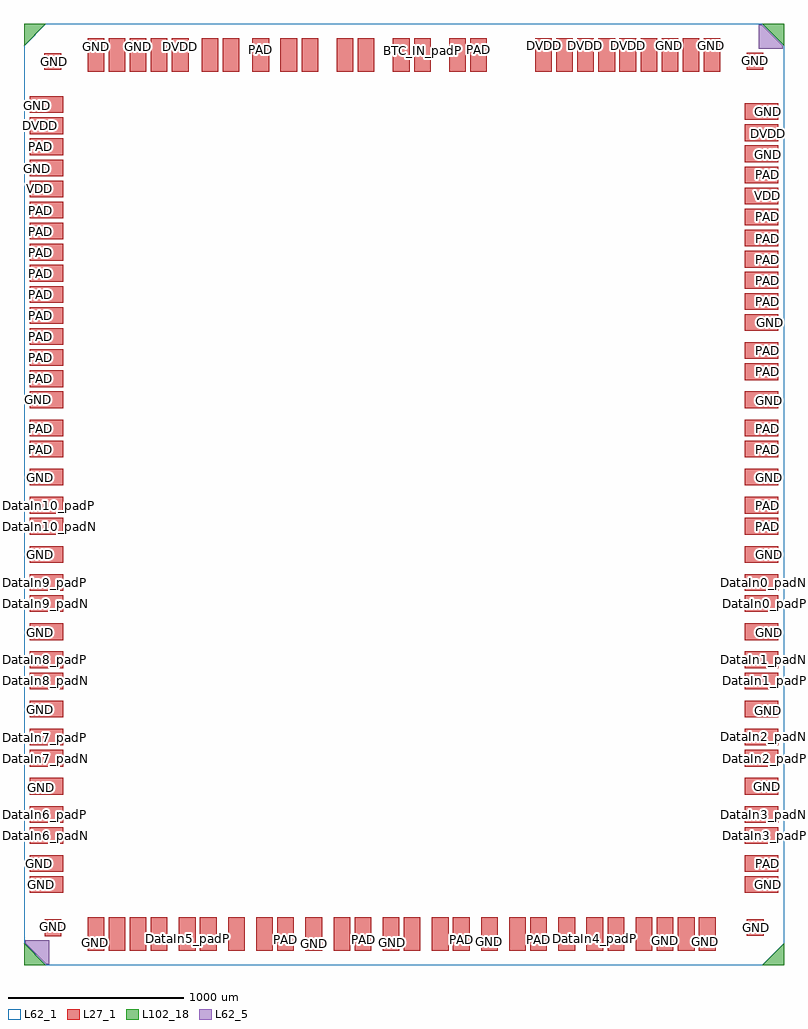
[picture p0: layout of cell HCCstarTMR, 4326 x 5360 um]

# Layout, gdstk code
import gdstk
lib = gdstk.Library(unit=1e-6, precision=1e-09)
def R(c, l, rs):  # rectangles x0, y0, x1, y1
    for r in rs: c.add(gdstk.rectangle(r[:2], r[2:], *l))
def A(c, l, x, y, w, h, nx, ny, dx, dy):  # array of equal rectangles
    R(c, l, [(x+i*dx, y+j*dy, x+i*dx+w, y+j*dy+h) for i in range(nx) for j in range(ny)])
def P(c, l, *ps):  # polygons
    for p in ps: c.add(gdstk.Polygon(p, *l))
L27_1 = (27, 1)
L62_1 = (62, 1)
L62_5 = (62, 5)
L102_18 = (102, 18)

hccstartmr = lib.new_cell('HCCstarTMR')
A(hccstartmr, L27_1, 361.71, 83.59, 95, 190, 4, 1, 120, 0)
A(hccstartmr, L27_1, 1001.71, 83.59, 95, 190, 3, 1, 160, 0)
A(hccstartmr, L27_1, 1441.71, 83.59, 95, 190, 3, 1, 160, 0)
A(hccstartmr, L27_1, 2441.71, 83.59, 95, 190, 3, 1, 160, 0)
A(hccstartmr, L27_1, 2881.71, 83.59, 95, 190, 3, 1, 160, 0)
A(hccstartmr, L27_1, 3481.71, 83.59, 95, 190, 4, 1, 120, 0)
A(hccstartmr, L27_1, 33.59, 811.71, 190, 95, 1, 3, 0, 160)
A(hccstartmr, L27_1, 4102.41, 811.71, 190, 95, 1, 3, 0, 160)
A(hccstartmr, L27_1, 33.59, 1251.71, 190, 95, 1, 3, 0, 160)
A(hccstartmr, L27_1, 4102.41, 1251.71, 190, 95, 1, 3, 0, 160)
A(hccstartmr, L27_1, 33.59, 1691.71, 190, 95, 1, 3, 0, 160)
A(hccstartmr, L27_1, 4102.41, 1691.71, 190, 95, 1, 3, 0, 160)
A(hccstartmr, L27_1, 33.59, 2131.71, 190, 95, 1, 3, 0, 160)
A(hccstartmr, L27_1, 4102.41, 2131.71, 190, 95, 1, 3, 0, 160)
A(hccstartmr, L27_1, 33.59, 2571.71, 190, 95, 1, 3, 0, 160)
A(hccstartmr, L27_1, 4102.41, 2571.71, 190, 95, 1, 3, 0, 160)
A(hccstartmr, L27_1, 4102.41, 3011.71, 190, 95, 1, 3, 0, 160)
A(hccstartmr, L27_1, 33.59, 3171.71, 190, 95, 1, 15, 0, 120)
A(hccstartmr, L27_1, 4102.41, 3611.71, 190, 95, 1, 11, 0, 120)
A(hccstartmr, L27_1, 361.71, 5086.41, 95, 190, 5, 1, 120, 0)
A(hccstartmr, L27_1, 2909.42, 5086.41, 95, 190, 9, 1, 120, 0)
R(hccstartmr, L27_1, [(881.71,83.59,976.71,273.59), (1881.71,83.59,1976.71,273.59), (2041.71,83.59,2136.71,273.59), (2161.71,83.59,2256.71,273.59), (2321.71,83.59,2416.71,273.59), (3321.71,83.59,3416.71,273.59), (117.41,166.34,212.41,261.34), (4114.66,167.41,4209.66,262.41), (33.59,411.71,223.59,506.71), (4102.41,411.71,4292.41,506.71), (33.59,531.71,223.59,626.71), (4102.41,531.71,4292.41,626.71), (33.59,691.71,223.59,786.71), (4102.41,691.71,4292.41,786.71), (33.59,3011.71,223.59,3106.71), (4102.41,3451.71,4292.41,3546.71), (1010.85,5086.41,1105.85,5276.41), (1130.85,5086.41,1225.85,5276.41), (1299.99,5086.41,1394.99,5276.41), (1459.99,5086.41,1554.99,5276.41), (1579.99,5086.41,1674.99,5276.41), (1779.99,5086.41,1874.99,5276.41), (1899.99,5086.41,1994.99,5276.41), (2099.99,5086.41,2194.99,5276.41), (2219.99,5086.41,2314.99,5276.41), (2419.99,5086.41,2514.99,5276.41), (2539.99,5086.41,2634.99,5276.41), (116.34,5097.59,211.34,5192.59), (4113.59,5098.66,4208.59,5193.66)])
P(hccstartmr, L62_1, [(125,0),(0,125),(0,5235),(125,5360),(4201,5360),(4326,5235),(4326,125),(4201,0)])
P(hccstartmr, L62_5, [(126.82,7.4),(7.4,126.82),(7.4,142.91),(142.91,142.91),(142.91,7.4)],
  [(4199.18,5352.6),(4318.6,5233.18),(4318.6,5217.09),(4183.09,5217.09),(4183.09,5352.6)])
P(hccstartmr, L102_18, [(0,0),(0,125),(125,0)],
  [(0,5360),(0,5235),(125,5360)],
  [(4326,5360),(4326,5235),(4201,5360)],
  [(4326,0),(4326,125),(4201,0)])
hccstartmr.add(gdstk.Label('PAD', (1490.02,144.78), layer=81, texttype=20))
hccstartmr.add(gdstk.Label('PAD', (1370.02,144.78), layer=81, texttype=20))
hccstartmr.add(gdstk.Label('PAD', (1930.02,144.78), layer=81, texttype=20))
hccstartmr.add(gdstk.Label('PAD', (1810.02,144.78), layer=81, texttype=20))
hccstartmr.add(gdstk.Label('PAD', (2930.02,144.78), layer=81, texttype=20))
hccstartmr.add(gdstk.Label('PAD', (2810.02,144.78), layer=81, texttype=20))
hccstartmr.add(gdstk.Label('PAD', (2490.02,144.78), layer=81, texttype=20))
hccstartmr.add(gdstk.Label('PAD', (2370.02,144.78), layer=81, texttype=20))
hccstartmr.add(gdstk.Label('PAD', (4231.22,2498.4), layer=81, texttype=20))
hccstartmr.add(gdstk.Label('PAD', (4231.22,2618.4), layer=81, texttype=20))
hccstartmr.add(gdstk.Label('PAD', (4231.22,2938.4), layer=81, texttype=20))
hccstartmr.add(gdstk.Label('PAD', (4231.22,3058.4), layer=81, texttype=20))
hccstartmr.add(gdstk.Label('PAD', (4231.22,3378.4), layer=81, texttype=20))
hccstartmr.add(gdstk.Label('PAD', (4231.22,3498.4), layer=81, texttype=20))
hccstartmr.add(gdstk.Label('PAD', (4231.22,3900.02), layer=81, texttype=20))
hccstartmr.add(gdstk.Label('PAD', (94.78,3338.4), layer=81, texttype=20))
hccstartmr.add(gdstk.Label('PAD', (4231.22,3780.02), layer=81, texttype=20))
hccstartmr.add(gdstk.Label('PAD', (94.78,3578.4), layer=81, texttype=20))
hccstartmr.add(gdstk.Label('PAD', (94.78,4658.4), layer=81, texttype=20))
hccstartmr.add(gdstk.Label('PAD', (4231.22,4500.02), layer=81, texttype=20))
hccstartmr.add(gdstk.Label('PAD', (4231.22,580.02), layer=81, texttype=20))
hccstartmr.add(gdstk.Label('PAD', (94.78,3698.4), layer=81, texttype=20))
hccstartmr.add(gdstk.Label('PAD', (94.78,3938.4), layer=81, texttype=20))
hccstartmr.add(gdstk.Label('PAD', (94.78,4058.4), layer=81, texttype=20))
hccstartmr.add(gdstk.Label('PAD', (94.78,4178.4), layer=81, texttype=20))
hccstartmr.add(gdstk.Label('PAD', (94.78,4298.4), layer=81, texttype=20))
hccstartmr.add(gdstk.Label('PAD', (4231.22,4260.02), layer=81, texttype=20))
hccstartmr.add(gdstk.Label('PAD', (94.78,3458.4), layer=81, texttype=20))
hccstartmr.add(gdstk.Label('PAD', (94.78,3818.4), layer=81, texttype=20))
hccstartmr.add(gdstk.Label('PAD', (1346.68,5215.22), layer=81, texttype=20))
hccstartmr.add(gdstk.Label('PAD', (94.78,2938.4), layer=81, texttype=20))
hccstartmr.add(gdstk.Label('PAD', (94.78,3058.4), layer=81, texttype=20))
hccstartmr.add(gdstk.Label('PAD', (4231.22,4140.02), layer=81, texttype=20))
hccstartmr.add(gdstk.Label('PAD', (4231.22,4020.02), layer=81, texttype=20))
hccstartmr.add(gdstk.Label('PAD', (2588.3,5215.22), layer=81, texttype=20))
hccstartmr.add(gdstk.Label('PAD', (2468.3,5215.22), layer=81, texttype=20))
hccstartmr.add(gdstk.Label('BTC_IN_padP', (2266.69,5206.035), layer=81, texttype=20))
hccstartmr.add(gdstk.Label('BTC_IN_padN', (2146.72,5205.895), layer=81, texttype=20))
hccstartmr.add(gdstk.Label('LCB_IN_padP', (1946.69,5206.035), layer=81, texttype=20))
hccstartmr.add(gdstk.Label('LCB_IN_padN', (1826.72,5205.895), layer=81, texttype=20))
hccstartmr.add(gdstk.Label('R3L1_IN_padP', (1626.69,5206.035), layer=81, texttype=20))
hccstartmr.add(gdstk.Label('R3L1_IN_padN', (1506.72,5205.895), layer=81, texttype=20))
hccstartmr.add(gdstk.Label('BTC_OUT_padP', (4232.125,3500.61), layer=81, texttype=20))
hccstartmr.add(gdstk.Label('BTC_OUT_padN', (4232.265,3374.01), layer=81, texttype=20))
hccstartmr.add(gdstk.Label('LCB_OUT_padP', (4232.125,3060.61), layer=81, texttype=20))
hccstartmr.add(gdstk.Label('LCB_OUT_padN', (4232.265,2934.01), layer=81, texttype=20))
hccstartmr.add(gdstk.Label('R3L1_OUT_padP', (4232.125,2620.61), layer=81, texttype=20))
hccstartmr.add(gdstk.Label('R3L1_OUT_padN', (4232.265,2494.01), layer=81, texttype=20))
hccstartmr.add(gdstk.Label('BC_HYB_padP', (1367.81,143.875), layer=81, texttype=20))
hccstartmr.add(gdstk.Label('BC_HYB_padN', (1494.41,143.735), layer=81, texttype=20))
hccstartmr.add(gdstk.Label('LCB_HYB_padP', (2367.81,143.875), layer=81, texttype=20))
hccstartmr.add(gdstk.Label('LCB_HYB_padN', (2494.41,143.735), layer=81, texttype=20))
hccstartmr.add(gdstk.Label('PRLP_HYB_padP', (1807.81,143.875), layer=81, texttype=20))
hccstartmr.add(gdstk.Label('PRLP_HYB_padN', (1934.41,143.735), layer=81, texttype=20))
hccstartmr.add(gdstk.Label('RCLK_padP', (2807.81,143.875), layer=81, texttype=20))
hccstartmr.add(gdstk.Label('RCLK_padN', (2934.41,143.735), layer=81, texttype=20))
hccstartmr.add(gdstk.Label('Data1_padP', (2589.69,5215.275), layer=81, texttype=20))
hccstartmr.add(gdstk.Label('Data1_padN', (2470.18,5214.935), layer=81, texttype=20))
hccstartmr.add(gdstk.Label('DataCLK_padP', (93.875,3060.61), layer=81, texttype=20))
hccstartmr.add(gdstk.Label('DataCLK_padN', (93.735,2934.01), layer=81, texttype=20))
hccstartmr.add(gdstk.Label('DataIn0_padP', (4222.035,2060.01), layer=81, texttype=20))
hccstartmr.add(gdstk.Label('DataIn0_padN', (4221.895,2179.98), layer=81, texttype=20))
hccstartmr.add(gdstk.Label('DataIn1_padP', (4222.035,1620.01), layer=81, texttype=20))
hccstartmr.add(gdstk.Label('DataIn1_padN', (4221.895,1739.98), layer=81, texttype=20))
hccstartmr.add(gdstk.Label('DataIn2_padP', (4222.035,1180.01), layer=81, texttype=20))
hccstartmr.add(gdstk.Label('DataIn2_padN', (4221.895,1299.98), layer=81, texttype=20))
hccstartmr.add(gdstk.Label('DataIn3_padP', (4222.035,740.01), layer=81, texttype=20))
hccstartmr.add(gdstk.Label('DataIn3_padN', (4221.895,859.98), layer=81, texttype=20))
hccstartmr.add(gdstk.Label('DataIn4_padP', (3250.01,153.965), layer=81, texttype=20))
hccstartmr.add(gdstk.Label('DataIn4_padN', (3369.98,154.105), layer=81, texttype=20))
hccstartmr.add(gdstk.Label('DataIn5_padP', (930.01,153.965), layer=81, texttype=20))
hccstartmr.add(gdstk.Label('DataIn5_padN', (1049.98,154.105), layer=81, texttype=20))
hccstartmr.add(gdstk.Label('DataIn6_padP', (103.965,858.41), layer=81, texttype=20))
hccstartmr.add(gdstk.Label('DataIn6_padN', (104.105,738.44), layer=81, texttype=20))
hccstartmr.add(gdstk.Label('DataIn7_padP', (103.965,1298.41), layer=81, texttype=20))
hccstartmr.add(gdstk.Label('DataIn7_padN', (104.105,1178.44), layer=81, texttype=20))
hccstartmr.add(gdstk.Label('DataIn8_padP', (103.965,1738.41), layer=81, texttype=20))
hccstartmr.add(gdstk.Label('DataIn8_padN', (104.105,1618.44), layer=81, texttype=20))
hccstartmr.add(gdstk.Label('DataIn9_padP', (103.965,2178.41), layer=81, texttype=20))
hccstartmr.add(gdstk.Label('DataIn9_padN', (104.105,2058.44), layer=81, texttype=20))
hccstartmr.add(gdstk.Label('DataIn10_padP', (103.965,2618.41), layer=81, texttype=20))
hccstartmr.add(gdstk.Label('DataIn10_padN', (104.105,2498.44), layer=81, texttype=20))
hccstartmr.add(gdstk.Label('BG_o_pad', (94.81,4658.405), layer=81, texttype=20))
hccstartmr.add(gdstk.Label('GP0_o_pad', (4231.19,3780.015), layer=81, texttype=20))
hccstartmr.add(gdstk.Label('GP1_o_pad', (94.81,3338.405), layer=81, texttype=20))
hccstartmr.add(gdstk.Label('SSSH_o_pad', (4231.19,3900.015), layer=81, texttype=20))
hccstartmr.add(gdstk.Label('ABC_RSTb_o_pad', (94.81,3578.405), layer=81, texttype=20))
hccstartmr.add(gdstk.Label('FusePP_i_pad', (1346.685,5215.19), layer=81, texttype=20))
hccstartmr.add(gdstk.Label('padID<3>', (94.81,3938.405), layer=81, texttype=20))
hccstartmr.add(gdstk.Label('padID<2>', (94.81,4058.405), layer=81, texttype=20))
hccstartmr.add(gdstk.Label('padID<1>', (94.81,4178.405), layer=81, texttype=20))
hccstartmr.add(gdstk.Label('padID<0>', (94.81,4298.405), layer=81, texttype=20))
hccstartmr.add(gdstk.Label('RSTXOR_i_pad', (94.81,3818.405), layer=81, texttype=20))
hccstartmr.add(gdstk.Label('OutEncode_i_pad', (94.81,3698.405), layer=81, texttype=20))
hccstartmr.add(gdstk.Label('GP0_i_pad', (4231.19,4260.015), layer=81, texttype=20))
hccstartmr.add(gdstk.Label('GP1_i_pad', (94.81,3458.405), layer=81, texttype=20))
hccstartmr.add(gdstk.Label('LowPower_i_pad', (4241.555,4141.525), layer=81, texttype=20))
hccstartmr.add(gdstk.Label('RSTB_i_pad', (4241.555,4021.525), layer=81, texttype=20))
hccstartmr.add(gdstk.Label('CAL_i_pad', (4231.19,580.015), layer=81, texttype=20))
hccstartmr.add(gdstk.Label('Hybrid_GND_i_pad', (4231.19,4500.015), layer=81, texttype=20))
hccstartmr.add(gdstk.Label('DVDD', (892.1,5228.2), layer=81, texttype=20))
hccstartmr.add(gdstk.Label('VDDH_FUSE', (1063.04,5250.57), layer=81, texttype=20))
hccstartmr.add(gdstk.Label('VDDH_FUSE', (1174.88,5229.8), layer=81, texttype=20))
hccstartmr.add(gdstk.Label('GND', (769.08,5231.4), layer=81, texttype=20))
hccstartmr.add(gdstk.Label('GND', (654.05,5229.8), layer=81, texttype=20))
hccstartmr.add(gdstk.Label('GND', (531.04,5229.8), layer=81, texttype=20))
hccstartmr.add(gdstk.Label('GND', (412.81,5229.8), layer=81, texttype=20))
hccstartmr.add(gdstk.Label('DVDD', (2961.01,5234.59), layer=81, texttype=20))
hccstartmr.add(gdstk.Label('DVDD', (3195.86,5233), layer=81, texttype=20))
hccstartmr.add(gdstk.Label('DVDD', (3440.3,5237.79), layer=81, texttype=20))
hccstartmr.add(gdstk.Label('DVDD', (4235.91,4736.14), layer=81, texttype=20))
hccstartmr.add(gdstk.Label('VDD', (4234.32,4379.87), layer=81, texttype=20))
hccstartmr.add(gdstk.Label('GND', (4239.11,4859.15), layer=81, texttype=20))
hccstartmr.add(gdstk.Label('GND', (3556.93,5231.4), layer=81, texttype=20))
hccstartmr.add(gdstk.Label('GND', (3671.95,5234.6), layer=81, texttype=20))
hccstartmr.add(gdstk.Label('GND', (3799.76,5231.4), layer=81, texttype=20))
hccstartmr.add(gdstk.Label('GND', (3911.6,5234.6), layer=81, texttype=20))
hccstartmr.add(gdstk.Label('GND', (3323.67,5239.39), layer=81, texttype=20))
hccstartmr.add(gdstk.Label('GND', (3080.84,5233), layer=81, texttype=20))
hccstartmr.add(gdstk.Label('GND', (78.91,4895.9), layer=81, texttype=20))
hccstartmr.add(gdstk.Label('DVDD', (93.29,4779.27), layer=81, texttype=20))
hccstartmr.add(gdstk.Label('VDD', (88.5,4419.81), layer=81, texttype=20))
hccstartmr.add(gdstk.Label('GND', (78.91,4536.44), layer=81, texttype=20))
hccstartmr.add(gdstk.Label('GND', (82.11,3220), layer=81, texttype=20))
hccstartmr.add(gdstk.Label('GND', (94.89,2775.86), layer=81, texttype=20))
hccstartmr.add(gdstk.Label('GND', (93.29,2339.71), layer=81, texttype=20))
hccstartmr.add(gdstk.Label('GND', (93.29,1897.17), layer=81, texttype=20))
hccstartmr.add(gdstk.Label('GND', (93.29,1457.83), layer=81, texttype=20))
hccstartmr.add(gdstk.Label('GND', (98.08,1013.69), layer=81, texttype=20))
hccstartmr.add(gdstk.Label('GND', (88.5,577.54), layer=81, texttype=20))
hccstartmr.add(gdstk.Label('GND', (101.28,459.32), layer=81, texttype=20))
hccstartmr.add(gdstk.Label('GND', (406.42,128.61), layer=81, texttype=20))
hccstartmr.add(gdstk.Label('GND', (532.64,128.61), layer=81, texttype=20))
hccstartmr.add(gdstk.Label('GND', (649.26,128.61), layer=81, texttype=20))
hccstartmr.add(gdstk.Label('GND', (777.07,130.21), layer=81, texttype=20))
hccstartmr.add(gdstk.Label('GND', (1210.02,130.21), layer=81, texttype=20))
hccstartmr.add(gdstk.Label('GND', (1654.16,122.22), layer=81, texttype=20))
hccstartmr.add(gdstk.Label('GND', (2096.7,130.21), layer=81, texttype=20))
hccstartmr.add(gdstk.Label('GND', (2208.54,128.61), layer=81, texttype=20))
hccstartmr.add(gdstk.Label('GND', (2651.08,135), layer=81, texttype=20))
hccstartmr.add(gdstk.Label('GND', (3093.62,130.21), layer=81, texttype=20))
hccstartmr.add(gdstk.Label('GND', (3536.16,139.79), layer=81, texttype=20))
hccstartmr.add(gdstk.Label('GND', (3651.18,139.79), layer=81, texttype=20))
hccstartmr.add(gdstk.Label('GND', (3763.02,136.6), layer=81, texttype=20))
hccstartmr.add(gdstk.Label('GND', (3881.24,136.6), layer=81, texttype=20))
hccstartmr.add(gdstk.Label('GND', (4235.91,459.31), layer=81, texttype=20))
hccstartmr.add(gdstk.Label('GND', (4232.72,1020.08), layer=81, texttype=20))
hccstartmr.add(gdstk.Label('GND', (4237.51,1451.44), layer=81, texttype=20))
hccstartmr.add(gdstk.Label('GND', (4240.71,1897.17), layer=81, texttype=20))
hccstartmr.add(gdstk.Label('GND', (4243.9,2336.52), layer=81, texttype=20))
hccstartmr.add(gdstk.Label('GND', (4245.5,2775.86), layer=81, texttype=20))
hccstartmr.add(gdstk.Label('GND', (4240.71,3216.8), layer=81, texttype=20))
hccstartmr.add(gdstk.Label('GND', (4247.1,3660.94), layer=81, texttype=20))
hccstartmr.add(gdstk.Label('GND', (4235.91,4614.72), layer=81, texttype=20))
hccstartmr.add(gdstk.Label('GND', (4164.02,5149.92), layer=81, texttype=20))
hccstartmr.add(gdstk.Label('GND', (171.57,5143.53), layer=81, texttype=20))
hccstartmr.add(gdstk.Label('GND', (168.38,219.67), layer=81, texttype=20))
hccstartmr.add(gdstk.Label('GND', (4168.81,218.07), layer=81, texttype=20))

lib.write_gds('HCCstarTMR.gds')
